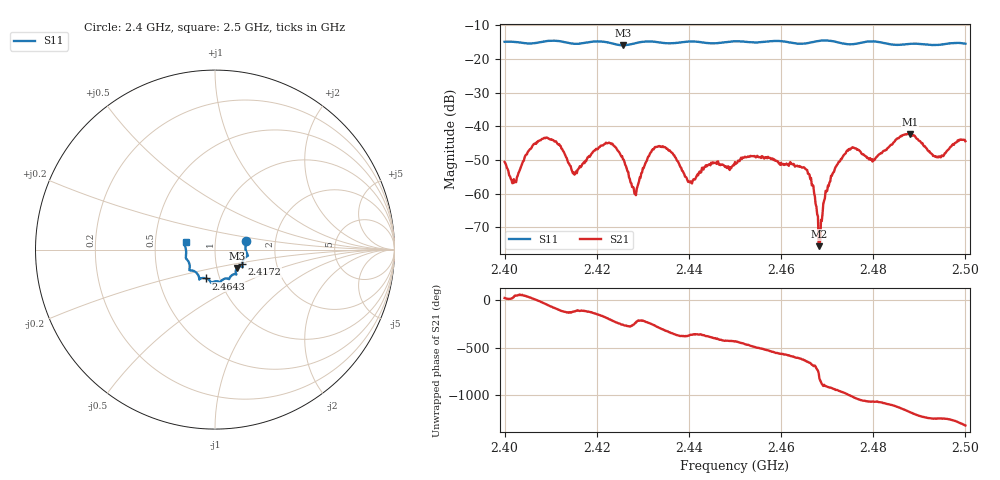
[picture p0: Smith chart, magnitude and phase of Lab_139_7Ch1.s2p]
# Hz S RI R 50
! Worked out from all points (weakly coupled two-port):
!   601 points, 2.4 GHz to 2.5 GHz, reference 50 ohm
!   highest |S21| = -42.28 dB at 2.488 GHz (marker M1); lowest = -75.6 dB at 2.4682 GHz (marker M2)
!   lowest |S11| = -15.9 dB at 2.4257 GHz (marker M3), VSWR 1.38, Z = 62.5 - j13.1 ohm
!   |S11| at or under -10 dB: start of sweep to end of sweep
!   S12 and S22 are empty: the file has one direction only
!   S11 on the Smith chart (normalised r, x): 2.4 GHz: 1.41, +0.14; 2.4172 GHz: 1.34, -0.22; 2.4643 GHz: 0.86, -0.28; 2.5 GHz: 0.72, +0.06
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2.4e9  0.173 0.0495  0.00279 0.000936  0 0  0 0
2.402167e9  0.1747 0.0403  0.00108 0.000984  0 0  0 0
2.405e9  0.1697 0.0133  0.00346 0.00222  0 0  0 0
2.409e9  0.1819 -0.0281  0.00465 -0.00494  0 0  0 0
2.415e9  0.1588 -0.056  -0.00108 -0.00175  0 0  0 0
2.416667e9  0.1526 -0.0749  -0.000947 -0.00236  0 0  0 0
2.417167e9  0.1521 -0.0806  -0.00131 -0.00259  0 0  0 0
2.422333e9  0.1498 -0.0935  -0.00543 0.00137  0 0  0 0
2.425667e9  0.1227 -0.1024  -0.000535 0.00321  0 0  0 0
2.428333e9  0.1155 -0.1266  -0.000474 0.000867  0 0  0 0
2.433333e9  0.1126 -0.1365  0.00156 0.00477  0 0  0 0
2.440167e9  0.0796 -0.1636  0.00145 -0.000241  0 0  0 0
2.45e9  0.0294 -0.1808  0.000753 -0.00284  0 0  0 0
2.464333e9  -0.0503 -0.1606  -0.000633 0.00241  0 0  0 0
2.466667e9  -0.0763 -0.1598  0.000988 0.000876  0 0  0 0
2.468167e9  -0.0854 -0.1646  0.000108 -0.000125  0 0  0 0
2.470667e9  -0.0871 -0.1646  -0.00143 0.00048  0 0  0 0
2.474167e9  -0.0987 -0.134  -0.000516 0.00417  0 0  0 0
2.483333e9  -0.1409 -0.0897  0.00478 -0.000921  0 0  0 0
2.488e9  -0.1601 -0.0508  -0.000517 -0.00768  0 0  0 0
2.494e9  -0.1619 -0.00104  -0.00334 -0.00114  0 0  0 0
2.5e9  -0.1635 0.0419  -0.00362 0.00479  0 0  0 0
